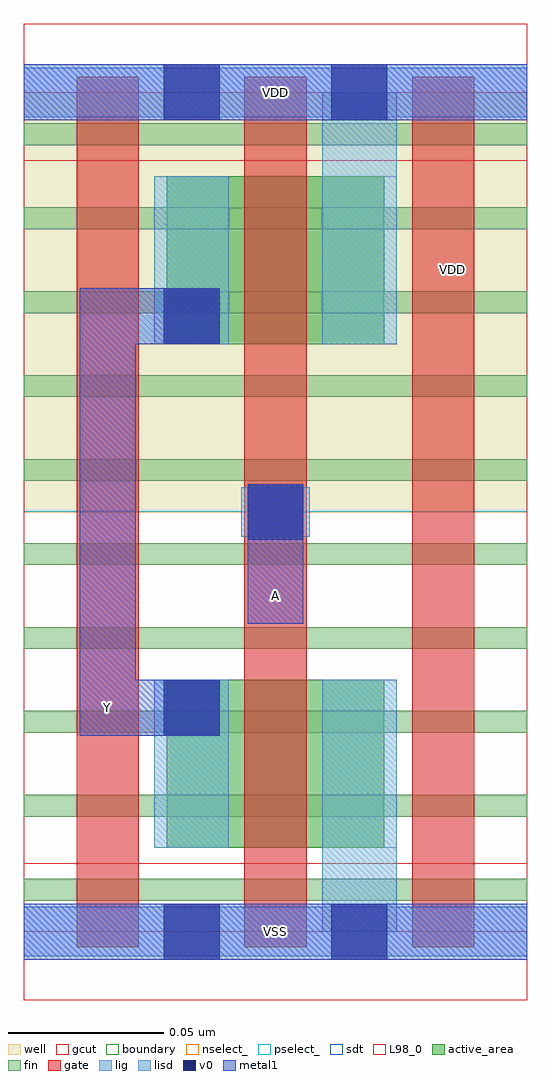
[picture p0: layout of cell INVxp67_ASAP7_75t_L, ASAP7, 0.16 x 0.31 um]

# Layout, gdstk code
import gdstk
lib = gdstk.Library(unit=1e-6, precision=2.5e-10)
def R(c, l, rs):  # rectangles x0, y0, x1, y1
    for r in rs: c.add(gdstk.rectangle(r[:2], r[2:], *l))
def A(c, l, x, y, w, h, nx, ny, dx, dy):  # array of equal rectangles
    R(c, l, [(x+i*dx, y+j*dy, x+i*dx+w, y+j*dy+h) for i in range(nx) for j in range(ny)])
def P(c, l, *ps):  # polygons
    for p in ps: c.add(gdstk.Polygon(p, *l))
well = (1, 0)
fin = (2, 0)
gate = (7, 0)
gcut = (10, 0)
active_area = (11, 0)
nselect_ = (12, 0)
pselect_ = (13, 0)
lig = (16, 0)
lisd = (17, 0)
v0 = (18, 0)
metal1 = (19, 0)
sdt = (88, 0)
L98_0 = (98, 0)
boundary = (100, 0)

invxp67_asap7_75t_l = lib.new_cell('INVxp67_ASAP7_75t_L')
R(invxp67_asap7_75t_l, well, [(0,0.135,0.162,0.27)])
A(invxp67_asap7_75t_l, fin, 0, 0.01, 0.162, 0.007, 1, 10, 0, 0.027)
A(invxp67_asap7_75t_l, gate, 0.017, -0.005, 0.02, 0.28, 3, 1, 0.054, 0)
R(invxp67_asap7_75t_l, gcut, [(0,-0.022,0.162,0.022), (0,0.248,0.162,0.292)])
R(invxp67_asap7_75t_l, active_area, [(0.046,0.027,0.116,0.081), (0.046,0.189,0.116,0.243)])
R(invxp67_asap7_75t_l, nselect_, [(0,0,0.162,0.135)])
R(invxp67_asap7_75t_l, pselect_, [(0,0.135,0.162,0.27)])
R(invxp67_asap7_75t_l, lig, [(0,-0.008,0.162,0.008), (0.07,0.127,0.092,0.143), (0,0.262,0.162,0.278)])
R(invxp67_asap7_75t_l, lisd, [(0.096,0,0.12,0.081), (0.042,0.027,0.066,0.081), (0.042,0.189,0.066,0.243), (0.096,0.189,0.12,0.27)])
R(invxp67_asap7_75t_l, v0, [(0.045,-0.009,0.063,0.009), (0.099,-0.009,0.117,0.009), (0.045,0.063,0.063,0.081), (0.072,0.126,0.09,0.144), (0.045,0.189,0.063,0.207), (0.045,0.261,0.063,0.279), (0.099,0.261,0.117,0.279)])
R(invxp67_asap7_75t_l, metal1, [(0,-0.009,0.162,0.009), (0.072,0.099,0.09,0.144), (0,0.261,0.162,0.279)])
P(invxp67_asap7_75t_l, metal1, [(0.063,0.081),(0.036,0.081),(0.036,0.189),(0.063,0.189),(0.063,0.207),(0.018,0.207),(0.018,0.063),(0.063,0.063)])
R(invxp67_asap7_75t_l, sdt, [(0.042,0.027,0.066,0.081), (0.096,0.027,0.12,0.081), (0.042,0.189,0.066,0.243), (0.096,0.189,0.12,0.243)])
R(invxp67_asap7_75t_l, L98_0, [(0,0,0.162,0.27)])
R(invxp67_asap7_75t_l, boundary, [(0,0,0.162,0.27)])
invxp67_asap7_75t_l.add(gdstk.Label('Y', (0.027,0.072), layer=19, texttype=251))
invxp67_asap7_75t_l.add(gdstk.Label('A', (0.081,0.108), layer=19, texttype=251))
invxp67_asap7_75t_l.add(gdstk.Label('VSS', (0.081,0), layer=19, texttype=251))
invxp67_asap7_75t_l.add(gdstk.Label('VDD', (0.081,0.27), layer=19, texttype=251))
invxp67_asap7_75t_l.add(gdstk.Label('VDD', (0.138,0.213), layer=1, texttype=251))
invxp67_asap7_75t_l.add(gdstk.Label('VSS', (0.186,0.213), layer=3, texttype=251))

lib.write_gds('INVxp67_ASAP7_75t_L.gds')
